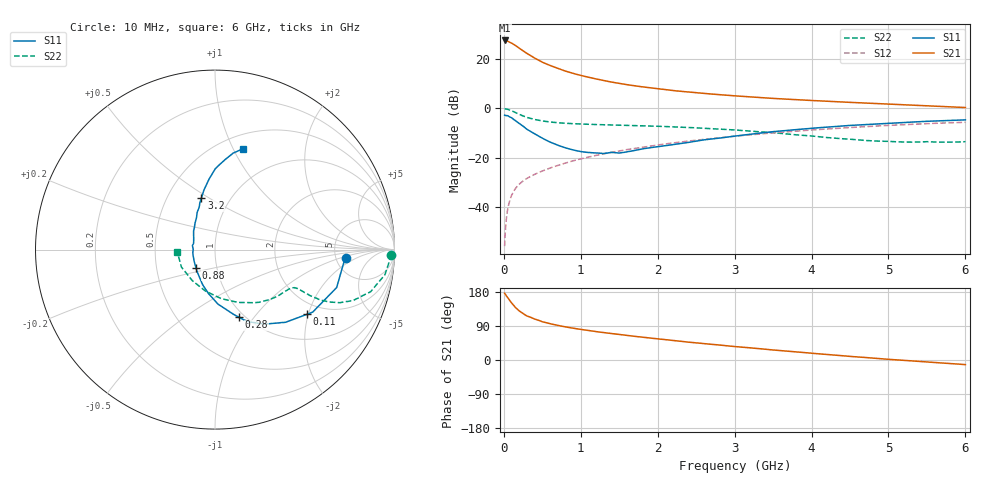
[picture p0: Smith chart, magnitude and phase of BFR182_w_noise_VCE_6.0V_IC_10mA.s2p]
! Infineon Technologies  Discrete & RF Semiconductors
! BFR182
! VCE =  6.0 V,  IC =  10 mA
! Common Emitter S-Parameters:  Nov 2015
# GHz  S  MA  R  50
!  f  S11  S21  S12  S22
! GHz  MAG  ANG  MAG  ANG  MAG  ANG  MAG  ANG
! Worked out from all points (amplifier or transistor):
!   210 points, 10 MHz to 6 GHz, reference 50 ohm
!   highest |S21| = 27.6 dB at 10 MHz (marker M1)
!   |S21| within 3 dB of that: start of sweep to 194 MHz
!   unconditionally stable (mu >= 1): 811 MHz to 2.721 GHz
!   at 185 MHz: K = 0.50, MSG = 28.0 dB, |S12| = -31.3 dB
!   at 1.52 GHz: K = 1.05, MAG = 12.3 dB, |S12| = -17.2 dB
!   at 6 GHz: K = 0.89, MSG = 3.0 dB, |S12| = -5.7 dB
!   lowest NFmin = 1.50 dB at 450 MHz
!   S11 on the Smith chart (normalised r, x): 10 MHz: 6.13, -1.20; 110 MHz: 1.66, -1.97; 280 MHz: 0.94, -0.84; 880 MHz: 0.79, -0.16; 3.2 GHz: 0.73, +0.47; 6 GHz: 0.64, +1.10
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0.01  0.7287 -3.6  23.86 176.3  0.0016 91.4  0.9804 -1.6
0.02  0.7188 -6.8  23.81 173.0  0.0034 84.0  0.9753 -3.5
0.05  0.7101 -17.3  23.07 164.3  0.0091 80.9  0.9571 -8.4
0.1  0.6463 -32.6  21.22 150.7  0.0171 75.6  0.8988 -15.1
0.11  0.6275 -35.0  20.69 148.5  0.0184 74.4  0.8827 -16.0
0.15  0.5646 -45.8  18.92 138.4  0.0236 71.0  0.821 -20.2
0.2  0.4975 -56.6  16.64 129.5  0.0289 68.7  0.757 -23.0
0.24  0.4475 -64.2  15.07 123.6  0.0327 66.7  0.7121 -24.3
0.28  0.3994 -70.6  13.68 118.6  0.0362 66.7  0.673 -25.1
0.3  0.3762 -73.9  13.02 116.1  0.0379 66.9  0.6545 -25.5
0.4  0.304 -86.9  10.47 108.1  0.0458 66.5  0.5945 -25.8
0.5  0.2482 -98.3  8.645 100.9  0.0535 67.2  0.5554 -25.6
0.7  0.1792 -118.6  6.467 91.1  0.0694 68.2  0.5105 -25.3
0.88  0.1462 -136.7  5.23 84.6  0.0846 68.3  0.4908 -25.6
1.02  0.1316 -152.9  4.576 80.2  0.096 68.3  0.4802 -26.3
1.4  0.128 169.8  3.412 69.8  0.1278 67.2  0.4603 -29.6
2.02  0.1684 132.9  2.473 55.4  0.1824 63.2  0.4328 -37.2
3.1  0.2856 106.3  1.752 33.9  0.281 53.6  0.3549 -56.4
3.2  0.2981 104.7  1.709 32.1  0.2902 52.6  0.3455 -58.7
4.1  0.4053 93.7  1.419 16.2  0.3727 42.9  0.2651 -86.4
5.1  0.5065 83.4  1.206 0.5  0.4593 30.8  0.21 -131.5
6  0.5842 74.4  1.04 -12.2  0.5217 18.7  0.2108 -176.8
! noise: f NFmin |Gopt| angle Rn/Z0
0.45  1.5  0.26  43  0.28
0.9  1.6  0.24  87  0.22
1.8  2.1  0.2  170  0.2
